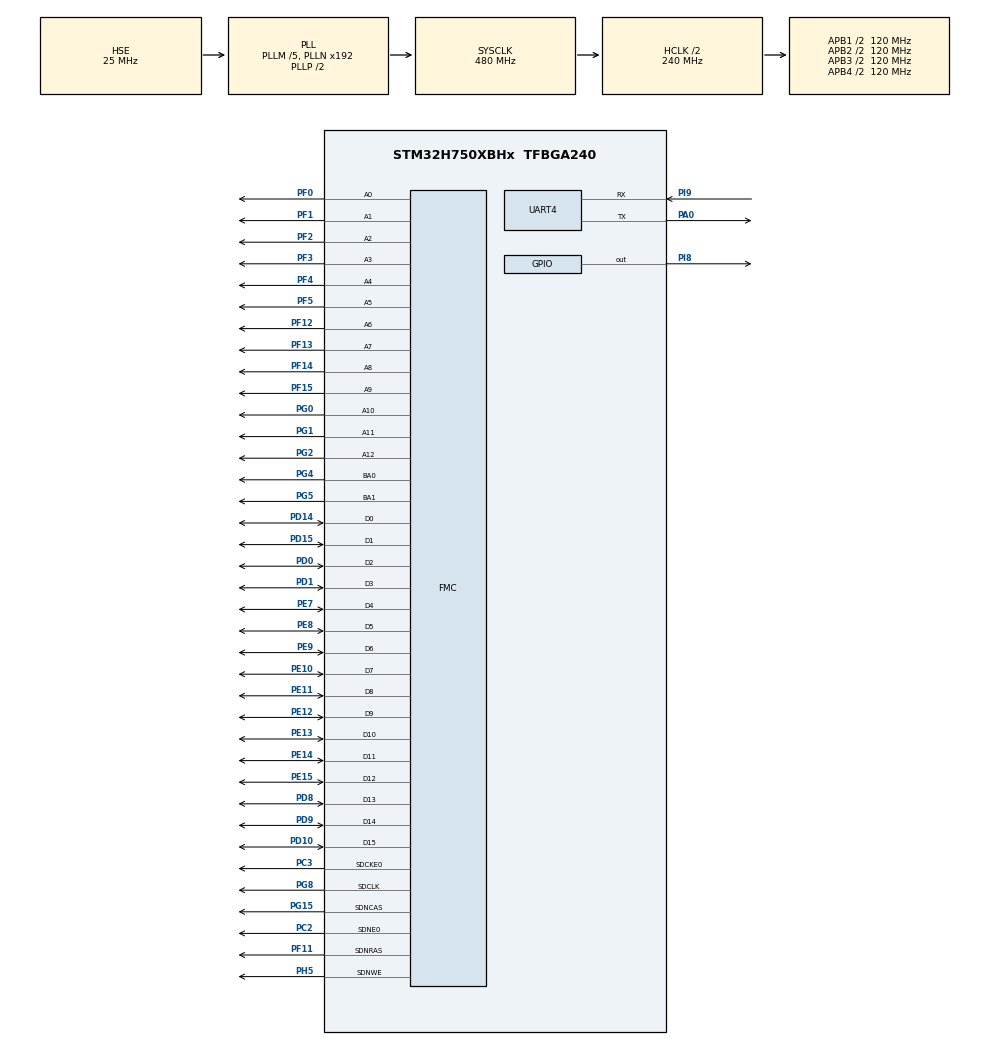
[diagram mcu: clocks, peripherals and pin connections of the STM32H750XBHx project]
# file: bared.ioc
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CORTEX_M7.CPU_DCache=Disabled
CORTEX_M7.CPU_ICache=Disabled
CORTEX_M7.Enable_Spec=__NULL
CORTEX_M7.MPU_Control=__NULL
CORTEX_M7.default_mode_Activation=0
Dma.Request0=UART4_RX
Dma.Request1=UART4_TX
Dma.UART4_RX.0.Direction=DMA_PERIPH_TO_MEMORY
Dma.UART4_RX.0.EventEnable=DISABLE
Dma.UART4_RX.0.FIFOMode=DMA_FIFOMODE_DISABLE
Dma.UART4_RX.0.Instance=DMA1_Stream0
Dma.UART4_RX.0.MemDataAlignment=DMA_MDATAALIGN_BYTE
Dma.UART4_RX.0.MemInc=DMA_MINC_ENABLE
Dma.UART4_RX.0.Mode=DMA_NORMAL
Dma.UART4_RX.0.PeriphDataAlignment=DMA_PDATAALIGN_BYTE
Dma.UART4_RX.0.PeriphInc=DMA_PINC_DISABLE
Dma.UART4_RX.0.Polarity=HAL_DMAMUX_REQ_GEN_RISING
Dma.UART4_RX.0.Priority=DMA_PRIORITY_LOW
Dma.UART4_RX.0.RequestNumber=1
Dma.UART4_RX.0.SignalID=NONE
Dma.UART4_RX.0.SyncEnable=DISABLE
Dma.UART4_RX.0.SyncPolarity=HAL_DMAMUX_SYNC_NO_EVENT
Dma.UART4_RX.0.SyncRequestNumber=1
Dma.UART4_RX.0.SyncSignalID=NONE
Dma.UART4_TX.1.Direction=DMA_MEMORY_TO_PERIPH
Dma.UART4_TX.1.EventEnable=DISABLE
Dma.UART4_TX.1.FIFOMode=DMA_FIFOMODE_DISABLE
Dma.UART4_TX.1.Instance=DMA1_Stream1
Dma.UART4_TX.1.MemDataAlignment=DMA_MDATAALIGN_BYTE
Dma.UART4_TX.1.MemInc=DMA_MINC_ENABLE
Dma.UART4_TX.1.Mode=DMA_NORMAL
Dma.UART4_TX.1.PeriphDataAlignment=DMA_PDATAALIGN_BYTE
Dma.UART4_TX.1.PeriphInc=DMA_PINC_DISABLE
Dma.UART4_TX.1.Polarity=HAL_DMAMUX_REQ_GEN_RISING
Dma.UART4_TX.1.Priority=DMA_PRIORITY_LOW
Dma.UART4_TX.1.RequestNumber=1
Dma.UART4_TX.1.SignalID=NONE
Dma.UART4_TX.1.SyncEnable=DISABLE
Dma.UART4_TX.1.SyncPolarity=HAL_DMAMUX_SYNC_NO_EVENT
Dma.UART4_TX.1.SyncRequestNumber=1
Dma.UART4_TX.1.SyncSignalID=NONE
FMC.CASLatency1=FMC_SDRAM_CAS_LATENCY_3
FMC.ColumnBitsNumber1=FMC_SDRAM_COLUMN_BITS_NUM_9
FMC.ExitSelfRefreshDelay1=12
FMC.LoadToActiveDelay1=3
FMC.RCDDelay1=5
FMC.RPDelay1=3
FMC.RPDelay2=3
FMC.ReadBurst1=FMC_SDRAM_RBURST_ENABLE
FMC.ReadPipeDelay1=FMC_SDRAM_RPIPE_DELAY_0
FMC.RowCycleDelay1=10
FMC.RowCycleDelay2=10
FMC.SDClockPeriod1=FMC_SDRAM_CLOCK_PERIOD_2
FMC.SDClockPeriod2=FMC_SDRAM_CLOCK_PERIOD_2
FMC.SelfRefreshTime1=8
FMC.WriteRecoveryTime1=5
Mcu.Family=STM32H7
Mcu.Name=STM32H750XBHx
Mcu.Package=TFBGA240
NVIC.DMA1_Stream0_IRQn=true\:0\:0\:false\:false\:true\:false\:true\:true
NVIC.DMA1_Stream1_IRQn=true\:0\:0\:false\:false\:true\:false\:true\:true
NVIC.PriorityGroup=NVIC_PRIORITYGROUP_4
NVIC.UART4_IRQn=true\:1\:0\:true\:false\:true\:true\:true\:true
PA0.Mode=Asynchronous
PA0.Signal=UART4_TX
PA10.Signal=USART1_RX
PA9.Signal=USART1_TX
PC14-OSC32_IN\ (OSC32_IN).Mode=LSE-External-Clock-Source
PC14-OSC32_IN\ (OSC32_IN).Signal=RCC_OSC32_IN
PC2.Mode=SdramChipSelect1_1
PC2.Signal=FMC_SDNE0
PC3.Mode=SdramChipSelect1_1
PC3.Signal=FMC_SDCKE0
PD0.Signal=FMC_D2_DA2
PD1.Signal=FMC_D3_DA3
PD10.Signal=FMC_D15_DA15
PD14.Signal=FMC_D0_DA0
PD15.Signal=FMC_D1_DA1
PD8.Signal=FMC_D13_DA13
PD9.Signal=FMC_D14_DA14
PE0.Signal=FMC_NBL0
PE1.Signal=FMC_NBL1
PE10.Signal=FMC_D7_DA7
PE11.Signal=FMC_D8_DA8
PE12.Signal=FMC_D9_DA9
PE13.Signal=FMC_D10_DA10
PE14.Signal=FMC_D11_DA11
PE15.Signal=FMC_D12_DA12
PE7.Signal=FMC_D4_DA4
PE8.Signal=FMC_D5_DA5
PE9.Signal=FMC_D6_DA6
PF0.Signal=FMC_A0
PF1.Signal=FMC_A1
PF11.Signal=FMC_SDNRAS
PF12.Signal=FMC_A6
PF13.Signal=FMC_A7
PF14.Signal=FMC_A8
PF15.Signal=FMC_A9
PF2.Signal=FMC_A2
PF3.Signal=FMC_A3
PF4.Signal=FMC_A4
PF5.Signal=FMC_A5
PG0.Signal=FMC_A10
PG1.Signal=FMC_A11
PG15.Signal=FMC_SDNCAS
PG2.Signal=FMC_A12
PG4.Signal=FMC_A14_BA0
PG5.Signal=FMC_A15_BA1
PG8.Signal=FMC_SDCLK
PH0-OSC_IN\ (PH0).Mode=HSE-External-Oscillator
PH0-OSC_IN\ (PH0).Signal=RCC_OSC_IN
PH1-OSC_OUT\ (PH1).Mode=HSE-External-Oscillator
PH1-OSC_OUT\ (PH1).Signal=RCC_OSC_OUT
PH5.Signal=FMC_SDNWE
PI8.Signal=GPIO_Output
PI9.Mode=Asynchronous
PI9.Signal=UART4_RX
ProjectManager.HeapSize=0x200
ProjectManager.StackSize=0x400
ProjectManager.TargetToolchain=Makefile
RCC.ADCFreq_Value=480000000
RCC.APB1Freq_Value=120000000
RCC.APB2Freq_Value=120000000
RCC.APB3Freq_Value=120000000
RCC.APB4Freq_Value=120000000
RCC.CKPERSourceSelection=RCC_CLKPSOURCE_HSE
RCC.CortexFreq_Value=480000000
RCC.D1PPRE=RCC_APB3_DIV2
RCC.D2PPRE1=RCC_APB1_DIV2
RCC.D2PPRE2=RCC_APB2_DIV2
RCC.D3PPRE=RCC_APB4_DIV2
RCC.DIVM1=5
RCC.DIVM2=5
RCC.DIVM3=5
RCC.DIVN1=192
RCC.DIVN2=192
RCC.DIVN3=192
RCC.HCLKFreq_Value=240000000
RCC.HPRE=RCC_HCLK_DIV2
RCC.PLL2FRACN=0
RCC.PLL3FRACN=0
RCC.PLLFRACN=0
RCC.PLLSourceVirtual=RCC_PLLSOURCE_HSE
RCC.SYSCLKFreq_VALUE=480000000
RCC.SYSCLKSource=RCC_SYSCLKSOURCE_PLLCLK
RCC.USBFreq_Value=480000000
SH.FMC_A0.0=FMC_A0,13b-sda1
SH.FMC_A1.0=FMC_A1,13b-sda1
SH.FMC_A10.0=FMC_A10,13b-sda1
SH.FMC_A11.0=FMC_A11,13b-sda1
SH.FMC_A12.0=FMC_A12,13b-sda1
SH.FMC_A14_BA0.0=FMC_BA0,FourSdramBanks1
SH.FMC_A15_BA1.0=FMC_BA1,FourSdramBanks1
SH.FMC_A2.0=FMC_A2,13b-sda1
SH.FMC_A3.0=FMC_A3,13b-sda1
SH.FMC_A4.0=FMC_A4,13b-sda1
SH.FMC_A5.0=FMC_A5,13b-sda1
SH.FMC_A6.0=FMC_A6,13b-sda1
SH.FMC_A7.0=FMC_A7,13b-sda1
SH.FMC_A8.0=FMC_A8,13b-sda1
SH.FMC_A9.0=FMC_A9,13b-sda1
SH.FMC_D0_DA0.0=FMC_D0,sd-16b-d1
SH.FMC_D10_DA10.0=FMC_D10,sd-16b-d1
SH.FMC_D11_DA11.0=FMC_D11,sd-16b-d1
SH.FMC_D12_DA12.0=FMC_D12,sd-16b-d1
SH.FMC_D13_DA13.0=FMC_D13,sd-16b-d1
SH.FMC_D14_DA14.0=FMC_D14,sd-16b-d1
SH.FMC_D15_DA15.0=FMC_D15,sd-16b-d1
SH.FMC_D1_DA1.0=FMC_D1,sd-16b-d1
SH.FMC_D2_DA2.0=FMC_D2,sd-16b-d1
SH.FMC_D3_DA3.0=FMC_D3,sd-16b-d1
SH.FMC_D4_DA4.0=FMC_D4,sd-16b-d1
SH.FMC_D5_DA5.0=FMC_D5,sd-16b-d1
SH.FMC_D6_DA6.0=FMC_D6,sd-16b-d1
SH.FMC_D7_DA7.0=FMC_D7,sd-16b-d1
SH.FMC_D8_DA8.0=FMC_D8,sd-16b-d1
SH.FMC_D9_DA9.0=FMC_D9,sd-16b-d1
SH.FMC_NBL0.0=FMC_NBL0
SH.FMC_NBL1.0=FMC_NBL1
SH.FMC_SDCLK.0=FMC_SDCLK,13b-sda1
SH.FMC_SDNCAS.0=FMC_SDNCAS,13b-sda1
SH.FMC_SDNRAS.0=FMC_SDNRAS,13b-sda1
SH.FMC_SDNWE.0=FMC_SDNWE,13b-sda1
UART4.DMADisableonRxErrorParam=UART_ADVFEATURE_DMA_DISABLEONRXERROR
UART4.FIFOMode=FIFOMODE_ENABLE
UART4.OverrunDisableParam=UART_ADVFEATURE_OVERRUN_DISABLE
VP_MEMORYMAP_VS_MEMORYMAP.Mode=CurAppReg
board=custom

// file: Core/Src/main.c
/* USER CODE BEGIN Header */
/**
  ******************************************************************************
  * @file           : main.c
  * @brief          : Main program body
  ******************************************************************************
  * @attention
  *
  * Copyright (c) 2026 STMicroelectronics.
  * All rights reserved.
  *
  * This software is licensed under terms that can be found in the LICENSE file
  * in the root directory of this software component.
  * If no LICENSE file comes with this software, it is provided AS-IS.
  *
  ******************************************************************************
  */
/* USER CODE END Header */
#include "main.h"
#include "dma.h"
#include "memorymap.h"
#include "usart.h"
#include "gpio.h"
#include "fmc.h"

/* USER CODE BEGIN Includes */
#include "system.h"
/* USER CODE END Includes */

void SystemClock_Config(void);
/* USER CODE BEGIN PFP */
static void Irq_Hanlder(void);
/* USER CODE END PFP */

int main(void)
{

  /* USER CODE BEGIN 1 */
  SCB->VTOR = 0x90000000;
  /* USER CODE END 1 */

  /* MCU Configuration--------------------------------------------------------*/

  /* Reset of all peripherals, Initializes the Flash interface and the Systick. */
  HAL_Init();

  /* Configure the system clock */
  SystemClock_Config();

  /* Initialize all configured peripherals */
  MX_GPIO_Init();
  MX_DMA_Init();
  MX_UART4_Init();
  MX_FMC_Init();
  /* USER CODE BEGIN 2 */

  syslog(LOG_INFO, "hello world 1");
  module_task_init();
  /* USER CODE END 2 */

  /* Infinite loop */
  while (1)
  {

    /* USER CODE BEGIN 3 */
    system_handler();
    Irq_Hanlder();
    // HAL_Delay(1000);
		// HAL_GPIO_WritePin(GPIOI, GPIO_PIN_8, 1);
		// HAL_Delay(1000);
		// HAL_GPIO_WritePin(GPIOI, GPIO_PIN_8, 0);
    // syslog(LOG_INFO, "get tick:%lu", get_tick());
  }
  /* USER CODE END 3 */
}

void SystemClock_Config(void)
{
  RCC_OscInitTypeDef RCC_OscInitStruct = {0};
  RCC_ClkInitTypeDef RCC_ClkInitStruct = {0};

  /** Supply configuration update enable
  */
  HAL_PWREx_ConfigSupply(PWR_LDO_SUPPLY);

  /** Configure the main internal regulator output voltage
  */
  __HAL_PWR_VOLTAGESCALING_CONFIG(PWR_REGULATOR_VOLTAGE_SCALE0);

  while(!__HAL_PWR_GET_FLAG(PWR_FLAG_VOSRDY)) {}

  /** Initializes the RCC Oscillators according to the specified parameters
  * in the RCC_OscInitTypeDef structure.
  */
  RCC_OscInitStruct.OscillatorType = RCC_OSCILLATORTYPE_HSE;
  RCC_OscInitStruct.HSEState = RCC_HSE_ON;
  RCC_OscInitStruct.PLL.PLLState = RCC_PLL_ON;
  RCC_OscInitStruct.PLL.PLLSource = RCC_PLLSOURCE_HSE;
  RCC_OscInitStruct.PLL.PLLM = 5;
  RCC_OscInitStruct.PLL.PLLN = 192;
  RCC_OscInitStruct.PLL.PLLP = 2;
  RCC_OscInitStruct.PLL.PLLQ = 2;
  RCC_OscInitStruct.PLL.PLLR = 2;
  RCC_OscInitStruct.PLL.PLLRGE = RCC_PLL1VCIRANGE_2;
  RCC_OscInitStruct.PLL.PLLVCOSEL = RCC_PLL1VCOWIDE;
  RCC_OscInitStruct.PLL.PLLFRACN = 0;
  if (HAL_RCC_OscConfig(&RCC_OscInitStruct) != HAL_OK)
  {
    Error_Handler();
  }

  /** Initializes the CPU, AHB and APB buses clocks
  */
  RCC_ClkInitStruct.ClockType = RCC_CLOCKTYPE_HCLK|RCC_CLOCKTYPE_SYSCLK
                              |RCC_CLOCKTYPE_PCLK1|RCC_CLOCKTYPE_PCLK2
                              |RCC_CLOCKTYPE_D3PCLK1|RCC_CLOCKTYPE_D1PCLK1;
  RCC_ClkInitStruct.SYSCLKSource = RCC_SYSCLKSOURCE_PLLCLK;
  RCC_ClkInitStruct.SYSCLKDivider = RCC_SYSCLK_DIV1;
  RCC_ClkInitStruct.AHBCLKDivider = RCC_HCLK_DIV2;
  RCC_ClkInitStruct.APB3CLKDivider = RCC_APB3_DIV2;
  RCC_ClkInitStruct.APB1CLKDivider = RCC_APB1_DIV2;
  RCC_ClkInitStruct.APB2CLKDivider = RCC_APB2_DIV2;
  RCC_ClkInitStruct.APB4CLKDivider = RCC_APB4_DIV2;

  if (HAL_RCC_ClockConfig(&RCC_ClkInitStruct, FLASH_LATENCY_4) != HAL_OK)
  {
    Error_Handler();
  }
}

/* USER CODE BEGIN 4 */

void gpio_switch(bool en)
{
  HAL_GPIO_WritePin(GPIOI, GPIO_PIN_8, en);
}

void gpio_work(void *params)
{
  int cnt = *(int*)params;
  syslog(LOG_INFO, "gpio_work : %d", cnt);
  if (++cnt % 2 == 0) {
    HAL_GPIO_WritePin(GPIOI, GPIO_PIN_8, 1);
  }
  else {
    HAL_GPIO_WritePin(GPIOI, GPIO_PIN_8, 0);
  }
}

static void Irq_Hanlder(void)
{
  Usart4_Irq_Handle(NULL);
}

/* USER CODE END 4 */

void Error_Handler(void)
{
  __disable_irq();
  while (1)
  {
  }
}
